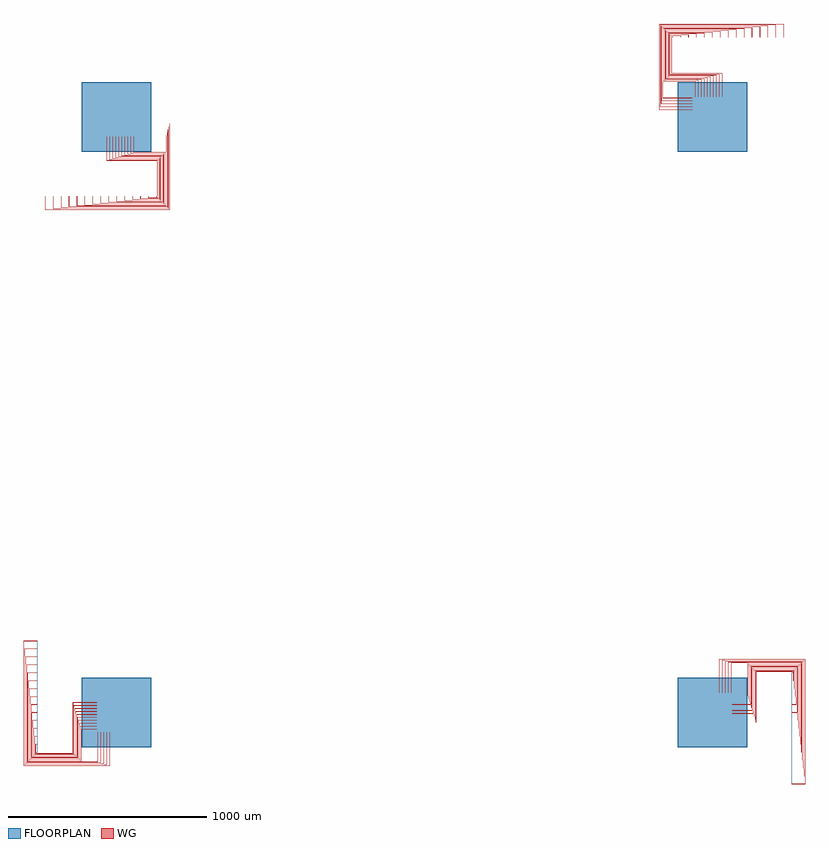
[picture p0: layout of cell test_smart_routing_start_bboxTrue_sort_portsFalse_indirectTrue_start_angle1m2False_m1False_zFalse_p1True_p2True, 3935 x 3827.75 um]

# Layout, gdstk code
import gdstk
lib = gdstk.Library(unit=1e-6, precision=1e-09)
def R(c, l, rs):  # rectangles x0, y0, x1, y1
    for r in rs: c.add(gdstk.rectangle(r[:2], r[2:], *l))
def P(c, l, *ps):  # polygons
    for p in ps: c.add(gdstk.Polygon(p, *l))
WG = (1, 0)
FLOORPLAN = (10, 0)

test_smart_routing_start = lib.new_cell('test_smart_routing_start_bboxTrue_sort_portsFalse_indirectTrue_start_angle1m2False_m1False_zFalse_p1True_p2True')
P(test_smart_routing_start, WG, [(3050.05,3100),(3050.05,3219.8),(2795.55,3219.8),(2795.55,3404.2),(2799.95,3404.2),(2799.95,3400),(2799.75,3400),(2799.75,3404),(2795.75,3404),(2795.75,3220),(3050.25,3220),(3050.25,3100)],
  [(3049.75,3100),(3049.75,3219.5),(2795.25,3219.5),(2795.25,3404.5),(2800.25,3404.5),(2800.25,3400),(2800.05,3400),(2800.05,3404.3),(2795.45,3404.3),(2795.45,3219.7),(3049.95,3219.7),(3049.95,3100)],
  [(3035.05,3100),(3035.05,3215.3),(2791.05,3215.3),(2791.05,3408.7),(2839.95,3408.7),(2839.95,3400),(2839.75,3400),(2839.75,3408.5),(2791.25,3408.5),(2791.25,3215.5),(3035.25,3215.5),(3035.25,3100)],
  [(3034.75,3100),(3034.75,3215),(2790.75,3215),(2790.75,3409),(2840.25,3409),(2840.25,3400),(2840.05,3400),(2840.05,3408.8),(2790.95,3408.8),(2790.95,3215.2),(3034.95,3215.2),(3034.95,3100)],
  [(3020.05,3100),(3020.05,3210.8),(2786.55,3210.8),(2786.55,3413.2),(2879.95,3413.2),(2879.95,3400),(2879.75,3400),(2879.75,3413),(2786.75,3413),(2786.75,3211),(3020.25,3211),(3020.25,3100)],
  [(3019.75,3100),(3019.75,3210.5),(2786.25,3210.5),(2786.25,3413.5),(2880.25,3413.5),(2880.25,3400),(2880.05,3400),(2880.05,3413.3),(2786.45,3413.3),(2786.45,3210.7),(3019.95,3210.7),(3019.95,3100)],
  [(3005.05,3100),(3005.05,3206.3),(2782.05,3206.3),(2782.05,3417.7),(2919.95,3417.7),(2919.95,3400),(2919.75,3400),(2919.75,3417.5),(2782.25,3417.5),(2782.25,3206.5),(3005.25,3206.5),(3005.25,3100)],
  [(3004.75,3100),(3004.75,3206),(2781.75,3206),(2781.75,3418),(2920.25,3418),(2920.25,3400),(2920.05,3400),(2920.05,3417.8),(2781.95,3417.8),(2781.95,3206.2),(3004.95,3206.2),(3004.95,3100)],
  [(2990.05,3100),(2990.05,3201.8),(2777.55,3201.8),(2777.55,3422.2),(2959.95,3422.2),(2959.95,3400),(2959.75,3400),(2959.75,3422),(2777.75,3422),(2777.75,3202),(2990.25,3202),(2990.25,3100)],
  [(2989.75,3100),(2989.75,3201.5),(2777.25,3201.5),(2777.25,3422.5),(2960.25,3422.5),(2960.25,3400),(2960.05,3400),(2960.05,3422.3),(2777.45,3422.3),(2777.45,3201.7),(2989.95,3201.7),(2989.95,3100)],
  [(2975.05,3100),(2975.05,3197.3),(2773.05,3197.3),(2773.05,3426.7),(2999.95,3426.7),(2999.95,3400),(2999.75,3400),(2999.75,3426.5),(2773.25,3426.5),(2773.25,3197.5),(2975.25,3197.5),(2975.25,3100)],
  [(2974.75,3100),(2974.75,3197),(2772.75,3197),(2772.75,3427),(3000.25,3427),(3000.25,3400),(3000.05,3400),(3000.05,3426.8),(2772.95,3426.8),(2772.95,3197.2),(2974.95,3197.2),(2974.95,3100)],
  [(2960.05,3100),(2960.05,3192.8),(2768.55,3192.8),(2768.55,3431.2),(3039.95,3431.2),(3039.95,3400),(3039.75,3400),(3039.75,3431),(2768.75,3431),(2768.75,3193),(2960.25,3193),(2960.25,3100)],
  [(2959.75,3100),(2959.75,3192.5),(2768.25,3192.5),(2768.25,3431.5),(3040.25,3431.5),(3040.25,3400),(3040.05,3400),(3040.05,3431.3),(2768.45,3431.3),(2768.45,3192.7),(2959.95,3192.7),(2959.95,3100)],
  [(2945.05,3100),(2945.05,3188.3),(2764.05,3188.3),(2764.05,3435.7),(3079.95,3435.7),(3079.95,3400),(3079.75,3400),(3079.75,3435.5),(2764.25,3435.5),(2764.25,3188.5),(2945.25,3188.5),(2945.25,3100)],
  [(2944.75,3100),(2944.75,3188),(2763.75,3188),(2763.75,3436),(3080.25,3436),(3080.25,3400),(3080.05,3400),(3080.05,3435.8),(2763.95,3435.8),(2763.95,3188.2),(2944.95,3188.2),(2944.95,3100)],
  [(2930.05,3100),(2930.05,3183.8),(2759.55,3183.8),(2759.55,3440.2),(3119.95,3440.2),(3119.95,3400),(3119.75,3400),(3119.75,3440),(2759.75,3440),(2759.75,3184),(2930.25,3184),(2930.25,3100)],
  [(2929.75,3100),(2929.75,3183.5),(2759.25,3183.5),(2759.25,3440.5),(3120.25,3440.5),(3120.25,3400),(3120.05,3400),(3120.05,3440.3),(2759.45,3440.3),(2759.45,3183.7),(2929.95,3183.7),(2929.95,3100)],
  [(2915.05,3100),(2915.05,3179.3),(2755.05,3179.3),(2755.05,3444.7),(3159.95,3444.7),(3159.95,3400),(3159.75,3400),(3159.75,3444.5),(2755.25,3444.5),(2755.25,3179.5),(2915.25,3179.5),(2915.25,3100)],
  [(2914.75,3100),(2914.75,3179),(2754.75,3179),(2754.75,3445),(3160.25,3445),(3160.25,3400),(3160.05,3400),(3160.05,3444.8),(2754.95,3444.8),(2754.95,3179.2),(2914.95,3179.2),(2914.95,3100)],
  [(2732.55,3035.05),(2732.55,3467.2),(3359.95,3467.2),(3359.95,3400),(3359.75,3400),(3359.75,3467),(2732.75,3467),(2732.75,3035.25),(2900,3035.25),(2900,3035.05)],
  [(2732.25,3034.75),(2732.25,3467.5),(3360.25,3467.5),(3360.25,3400),(3360.05,3400),(3360.05,3467.3),(2732.45,3467.3),(2732.45,3034.95),(2900,3034.95),(2900,3034.75)],
  [(2737.05,3050.05),(2737.05,3462.7),(3319.95,3462.7),(3319.95,3400),(3319.75,3400),(3319.75,3462.5),(2737.25,3462.5),(2737.25,3050.25),(2900,3050.25),(2900,3050.05)],
  [(2736.75,3049.75),(2736.75,3463),(3320.25,3463),(3320.25,3400),(3320.05,3400),(3320.05,3462.8),(2736.95,3462.8),(2736.95,3049.95),(2900,3049.95),(2900,3049.75)],
  [(2741.55,3065.05),(2741.55,3458.2),(3279.95,3458.2),(3279.95,3400),(3279.75,3400),(3279.75,3458),(2741.75,3458),(2741.75,3065.25),(2900,3065.25),(2900,3065.05)],
  [(2741.25,3064.75),(2741.25,3458.5),(3280.25,3458.5),(3280.25,3400),(3280.05,3400),(3280.05,3458.3),(2741.45,3458.3),(2741.45,3064.95),(2900,3064.95),(2900,3064.75)],
  [(2746.05,3080.05),(2746.05,3453.7),(3239.95,3453.7),(3239.95,3400),(3239.75,3400),(3239.75,3453.5),(2746.25,3453.5),(2746.25,3080.25),(2900,3080.25),(2900,3080.05)],
  [(2745.75,3079.75),(2745.75,3454),(3240.25,3454),(3240.25,3400),(3240.05,3400),(3240.05,3453.8),(2745.95,3453.8),(2745.95,3079.95),(2900,3079.95),(2900,3079.75)],
  [(2750.55,3095.05),(2750.55,3449.2),(3199.95,3449.2),(3199.95,3400),(3199.75,3400),(3199.75,3449),(2750.75,3449),(2750.75,3095.25),(2900,3095.25),(2900,3095.05)],
  [(2750.25,3094.75),(2750.25,3449.5),(3200.25,3449.5),(3200.25,3400),(3200.05,3400),(3200.05,3449.3),(2750.45,3449.3),(2750.45,3094.95),(2900,3094.95),(2900,3094.75)],
  [(200.05,2595.8),(200.05,2600),(200.25,2600),(200.25,2596),(204.25,2596),(204.25,2780),(-50.25,2780),(-50.25,2900),(-50.05,2900),(-50.05,2780.2),(204.45,2780.2),(204.45,2595.8)],
  [(199.75,2595.5),(199.75,2600),(199.95,2600),(199.95,2595.7),(204.55,2595.7),(204.55,2780.3),(-49.95,2780.3),(-49.95,2900),(-49.75,2900),(-49.75,2780.5),(204.75,2780.5),(204.75,2595.5)],
  [(160.05,2591.3),(160.05,2600),(160.25,2600),(160.25,2591.5),(208.75,2591.5),(208.75,2784.5),(-35.25,2784.5),(-35.25,2900),(-35.05,2900),(-35.05,2784.7),(208.95,2784.7),(208.95,2591.3)],
  [(159.75,2591),(159.75,2600),(159.95,2600),(159.95,2591.2),(209.05,2591.2),(209.05,2784.8),(-34.95,2784.8),(-34.95,2900),(-34.75,2900),(-34.75,2785),(209.25,2785),(209.25,2591)],
  [(120.05,2586.8),(120.05,2600),(120.25,2600),(120.25,2587),(213.25,2587),(213.25,2789),(-20.25,2789),(-20.25,2900),(-20.05,2900),(-20.05,2789.2),(213.45,2789.2),(213.45,2586.8)],
  [(119.75,2586.5),(119.75,2600),(119.95,2600),(119.95,2586.7),(213.55,2586.7),(213.55,2789.3),(-19.95,2789.3),(-19.95,2900),(-19.75,2900),(-19.75,2789.5),(213.75,2789.5),(213.75,2586.5)],
  [(80.05,2582.3),(80.05,2600),(80.25,2600),(80.25,2582.5),(217.75,2582.5),(217.75,2793.5),(-5.25,2793.5),(-5.25,2900),(-5.05,2900),(-5.05,2793.7),(217.95,2793.7),(217.95,2582.3)],
  [(79.75,2582),(79.75,2600),(79.95,2600),(79.95,2582.2),(218.05,2582.2),(218.05,2793.8),(-4.95,2793.8),(-4.95,2900),(-4.75,2900),(-4.75,2794),(218.25,2794),(218.25,2582)],
  [(40.05,2577.8),(40.05,2600),(40.25,2600),(40.25,2578),(222.25,2578),(222.25,2798),(9.75,2798),(9.75,2900),(9.95,2900),(9.95,2798.2),(222.45,2798.2),(222.45,2577.8)],
  [(39.75,2577.5),(39.75,2600),(39.95,2600),(39.95,2577.7),(222.55,2577.7),(222.55,2798.3),(10.05,2798.3),(10.05,2900),(10.25,2900),(10.25,2798.5),(222.75,2798.5),(222.75,2577.5)],
  [(0.05,2573.3),(0.05,2600),(0.25,2600),(0.25,2573.5),(226.75,2573.5),(226.75,2802.5),(24.75,2802.5),(24.75,2900),(24.95,2900),(24.95,2802.7),(226.95,2802.7),(226.95,2573.3)],
  [(-0.25,2573),(-0.25,2600),(-0.05,2600),(-0.05,2573.2),(227.05,2573.2),(227.05,2802.8),(25.05,2802.8),(25.05,2900),(25.25,2900),(25.25,2803),(227.25,2803),(227.25,2573)],
  [(-39.95,2568.8),(-39.95,2600),(-39.75,2600),(-39.75,2569),(231.25,2569),(231.25,2807),(39.75,2807),(39.75,2900),(39.95,2900),(39.95,2807.2),(231.45,2807.2),(231.45,2568.8)],
  [(-40.25,2568.5),(-40.25,2600),(-40.05,2600),(-40.05,2568.7),(231.55,2568.7),(231.55,2807.3),(40.05,2807.3),(40.05,2900),(40.25,2900),(40.25,2807.5),(231.75,2807.5),(231.75,2568.5)],
  [(-79.95,2564.3),(-79.95,2600),(-79.75,2600),(-79.75,2564.5),(235.75,2564.5),(235.75,2811.5),(54.75,2811.5),(54.75,2900),(54.95,2900),(54.95,2811.7),(235.95,2811.7),(235.95,2564.3)],
  [(-80.25,2564),(-80.25,2600),(-80.05,2600),(-80.05,2564.2),(236.05,2564.2),(236.05,2811.8),(55.05,2811.8),(55.05,2900),(55.25,2900),(55.25,2812),(236.25,2812),(236.25,2564)],
  [(-119.95,2559.8),(-119.95,2600),(-119.75,2600),(-119.75,2560),(240.25,2560),(240.25,2816),(69.75,2816),(69.75,2900),(69.95,2900),(69.95,2816.2),(240.45,2816.2),(240.45,2559.8)],
  [(-120.25,2559.5),(-120.25,2600),(-120.05,2600),(-120.05,2559.7),(240.55,2559.7),(240.55,2816.3),(70.05,2816.3),(70.05,2900),(70.25,2900),(70.25,2816.5),(240.75,2816.5),(240.75,2559.5)],
  [(-159.95,2555.3),(-159.95,2600),(-159.75,2600),(-159.75,2555.5),(244.75,2555.5),(244.75,2820.5),(84.75,2820.5),(84.75,2900),(84.95,2900),(84.95,2820.7),(244.95,2820.7),(244.95,2555.3)],
  [(-160.25,2555),(-160.25,2600),(-160.05,2600),(-160.05,2555.2),(245.05,2555.2),(245.05,2820.8),(85.05,2820.8),(85.05,2900),(85.25,2900),(85.25,2821),(245.25,2821),(245.25,2555)],
  [(-359.95,2532.8),(-359.95,2600),(-359.75,2600),(-359.75,2533),(267.25,2533),(267.25,2964.75),(100,2964.75),(100,2964.95),(267.45,2964.95),(267.45,2532.8)],
  [(-360.25,2532.5),(-360.25,2600),(-360.05,2600),(-360.05,2532.7),(267.55,2532.7),(267.55,2965.05),(100,2965.05),(100,2965.25),(267.75,2965.25),(267.75,2532.5)],
  [(-319.95,2537.3),(-319.95,2600),(-319.75,2600),(-319.75,2537.5),(262.75,2537.5),(262.75,2949.75),(100,2949.75),(100,2949.95),(262.95,2949.95),(262.95,2537.3)],
  [(-320.25,2537),(-320.25,2600),(-320.05,2600),(-320.05,2537.2),(263.05,2537.2),(263.05,2950.05),(100,2950.05),(100,2950.25),(263.25,2950.25),(263.25,2537)],
  [(-279.95,2541.8),(-279.95,2600),(-279.75,2600),(-279.75,2542),(258.25,2542),(258.25,2934.75),(100,2934.75),(100,2934.95),(258.45,2934.95),(258.45,2541.8)],
  [(-280.25,2541.5),(-280.25,2600),(-280.05,2600),(-280.05,2541.7),(258.55,2541.7),(258.55,2935.05),(100,2935.05),(100,2935.25),(258.75,2935.25),(258.75,2541.5)],
  [(-239.95,2546.3),(-239.95,2600),(-239.75,2600),(-239.75,2546.5),(253.75,2546.5),(253.75,2919.75),(100,2919.75),(100,2919.95),(253.95,2919.95),(253.95,2546.3)],
  [(-240.25,2546),(-240.25,2600),(-240.05,2600),(-240.05,2546.2),(254.05,2546.2),(254.05,2920.05),(100,2920.05),(100,2920.25),(254.25,2920.25),(254.25,2546)],
  [(-199.95,2550.8),(-199.95,2600),(-199.75,2600),(-199.75,2551),(249.25,2551),(249.25,2904.75),(100,2904.75),(100,2904.95),(249.45,2904.95),(249.45,2550.8)],
  [(-200.25,2550.5),(-200.25,2600),(-200.05,2600),(-200.05,2550.7),(249.55,2550.7),(249.55,2905.05),(100,2905.05),(100,2905.25),(249.75,2905.25),(249.75,2550.5)],
  [(-404.5,-204.75),(-404.5,-199.75),(-400,-199.75),(-400,-199.95),(-404.3,-199.95),(-404.3,-204.55),(-219.7,-204.55),(-219.7,49.95),(-100,49.95),(-100,49.75),(-219.5,49.75),(-219.5,-204.75)],
  [(-404.2,-204.45),(-404.2,-200.05),(-400,-200.05),(-400,-200.25),(-404,-200.25),(-404,-204.25),(-220,-204.25),(-220,50.25),(-100,50.25),(-100,50.05),(-219.8,50.05),(-219.8,-204.45)],
  [(-409,-209.25),(-409,-159.75),(-400,-159.75),(-400,-159.95),(-408.8,-159.95),(-408.8,-209.05),(-215.2,-209.05),(-215.2,34.95),(-100,34.95),(-100,34.75),(-215,34.75),(-215,-209.25)],
  [(-408.7,-208.95),(-408.7,-160.05),(-400,-160.05),(-400,-160.25),(-408.5,-160.25),(-408.5,-208.75),(-215.5,-208.75),(-215.5,35.25),(-100,35.25),(-100,35.05),(-215.3,35.05),(-215.3,-208.95)],
  [(-413.5,-213.75),(-413.5,-119.75),(-400,-119.75),(-400,-119.95),(-413.3,-119.95),(-413.3,-213.55),(-210.7,-213.55),(-210.7,19.95),(-100,19.95),(-100,19.75),(-210.5,19.75),(-210.5,-213.75)],
  [(-413.2,-213.45),(-413.2,-120.05),(-400,-120.05),(-400,-120.25),(-413,-120.25),(-413,-213.25),(-211,-213.25),(-211,20.25),(-100,20.25),(-100,20.05),(-210.8,20.05),(-210.8,-213.45)],
  [(-418,-218.25),(-418,-79.75),(-400,-79.75),(-400,-79.95),(-417.8,-79.95),(-417.8,-218.05),(-206.2,-218.05),(-206.2,4.95),(-100,4.95),(-100,4.75),(-206,4.75),(-206,-218.25)],
  [(-417.7,-217.95),(-417.7,-80.05),(-400,-80.05),(-400,-80.25),(-417.5,-80.25),(-417.5,-217.75),(-206.5,-217.75),(-206.5,5.25),(-100,5.25),(-100,5.05),(-206.3,5.05),(-206.3,-217.95)],
  [(-422.5,-222.75),(-422.5,-39.75),(-400,-39.75),(-400,-39.95),(-422.3,-39.95),(-422.3,-222.55),(-201.7,-222.55),(-201.7,-10.05),(-100,-10.05),(-100,-10.25),(-201.5,-10.25),(-201.5,-222.75)],
  [(-422.2,-222.45),(-422.2,-40.05),(-400,-40.05),(-400,-40.25),(-422,-40.25),(-422,-222.25),(-202,-222.25),(-202,-9.75),(-100,-9.75),(-100,-9.95),(-201.8,-9.95),(-201.8,-222.45)],
  [(-426.7,-226.95),(-426.7,-0.05),(-400,-0.05),(-400,-0.25),(-426.5,-0.25),(-426.5,-226.75),(-197.5,-226.75),(-197.5,-24.75),(-100,-24.75),(-100,-24.95),(-197.3,-24.95),(-197.3,-226.95)],
  [(-427,-227.25),(-427,0.25),(-400,0.25),(-400,0.05),(-426.8,0.05),(-426.8,-227.05),(-197.2,-227.05),(-197.2,-25.05),(-100,-25.05),(-100,-25.25),(-197,-25.25),(-197,-227.25)],
  [(-431.2,-231.45),(-431.2,39.95),(-400,39.95),(-400,39.75),(-431,39.75),(-431,-231.25),(-193,-231.25),(-193,-39.75),(-100,-39.75),(-100,-39.95),(-192.8,-39.95),(-192.8,-231.45)],
  [(-431.5,-231.75),(-431.5,40.25),(-400,40.25),(-400,40.05),(-431.3,40.05),(-431.3,-231.55),(-192.7,-231.55),(-192.7,-40.05),(-100,-40.05),(-100,-40.25),(-192.5,-40.25),(-192.5,-231.75)],
  [(-435.7,-235.95),(-435.7,79.95),(-400,79.95),(-400,79.75),(-435.5,79.75),(-435.5,-235.75),(-188.5,-235.75),(-188.5,-54.75),(-100,-54.75),(-100,-54.95),(-188.3,-54.95),(-188.3,-235.95)],
  [(-436,-236.25),(-436,80.25),(-400,80.25),(-400,80.05),(-435.8,80.05),(-435.8,-236.05),(-188.2,-236.05),(-188.2,-55.05),(-100,-55.05),(-100,-55.25),(-188,-55.25),(-188,-236.25)],
  [(-440.2,-240.45),(-440.2,119.95),(-400,119.95),(-400,119.75),(-440,119.75),(-440,-240.25),(-184,-240.25),(-184,-69.75),(-100,-69.75),(-100,-69.95),(-183.8,-69.95),(-183.8,-240.45)],
  [(-440.5,-240.75),(-440.5,120.25),(-400,120.25),(-400,120.05),(-440.3,120.05),(-440.3,-240.55),(-183.7,-240.55),(-183.7,-70.05),(-100,-70.05),(-100,-70.25),(-183.5,-70.25),(-183.5,-240.75)],
  [(-444.7,-244.95),(-444.7,159.95),(-400,159.95),(-400,159.75),(-444.5,159.75),(-444.5,-244.75),(-179.5,-244.75),(-179.5,-84.75),(-100,-84.75),(-100,-84.95),(-179.3,-84.95),(-179.3,-244.95)],
  [(-445,-245.25),(-445,160.25),(-400,160.25),(-400,160.05),(-444.8,160.05),(-444.8,-245.05),(-179.2,-245.05),(-179.2,-85.05),(-100,-85.05),(-100,-85.25),(-179,-85.25),(-179,-245.25)],
  [(-467.2,-267.45),(-467.2,359.95),(-400,359.95),(-400,359.75),(-467,359.75),(-467,-267.25),(-35.25,-267.25),(-35.25,-100),(-35.05,-100),(-35.05,-267.45)],
  [(-467.5,-267.75),(-467.5,360.25),(-400,360.25),(-400,360.05),(-467.3,360.05),(-467.3,-267.55),(-34.95,-267.55),(-34.95,-100),(-34.75,-100),(-34.75,-267.75)],
  [(-462.7,-262.95),(-462.7,319.95),(-400,319.95),(-400,319.75),(-462.5,319.75),(-462.5,-262.75),(-50.25,-262.75),(-50.25,-100),(-50.05,-100),(-50.05,-262.95)],
  [(-463,-263.25),(-463,320.25),(-400,320.25),(-400,320.05),(-462.8,320.05),(-462.8,-263.05),(-49.95,-263.05),(-49.95,-100),(-49.75,-100),(-49.75,-263.25)],
  [(-458.2,-258.45),(-458.2,279.95),(-400,279.95),(-400,279.75),(-458,279.75),(-458,-258.25),(-65.25,-258.25),(-65.25,-100),(-65.05,-100),(-65.05,-258.45)],
  [(-458.5,-258.75),(-458.5,280.25),(-400,280.25),(-400,280.05),(-458.3,280.05),(-458.3,-258.55),(-64.95,-258.55),(-64.95,-100),(-64.75,-100),(-64.75,-258.75)],
  [(-453.7,-253.95),(-453.7,239.95),(-400,239.95),(-400,239.75),(-453.5,239.75),(-453.5,-253.75),(-80.25,-253.75),(-80.25,-100),(-80.05,-100),(-80.05,-253.95)],
  [(-454,-254.25),(-454,240.25),(-400,240.25),(-400,240.05),(-453.8,240.05),(-453.8,-254.05),(-79.95,-254.05),(-79.95,-100),(-79.75,-100),(-79.75,-254.25)],
  [(-449.2,-249.45),(-449.2,199.95),(-400,199.95),(-400,199.75),(-449,199.75),(-449,-249.25),(-95.25,-249.25),(-95.25,-100),(-95.05,-100),(-95.05,-249.45)],
  [(-449.5,-249.75),(-449.5,200.25),(-400,200.25),(-400,200.05),(-449.3,200.05),(-449.3,-249.55),(-94.95,-249.55),(-94.95,-100),(-94.75,-100),(-94.75,-249.75)],
  [(3100,-50.25),(3100,-50.05),(3219.8,-50.05),(3219.8,204.45),(3404.2,204.45),(3404.2,200.05),(3400,200.05),(3400,200.25),(3404,200.25),(3404,204.25),(3220,204.25),(3220,-50.25)],
  [(3100,-49.95),(3100,-49.75),(3219.5,-49.75),(3219.5,204.75),(3404.5,204.75),(3404.5,199.75),(3400,199.75),(3400,199.95),(3404.3,199.95),(3404.3,204.55),(3219.7,204.55),(3219.7,-49.95)],
  [(3100,-35.25),(3100,-35.05),(3215.3,-35.05),(3215.3,208.95),(3408.7,208.95),(3408.7,160.05),(3400,160.05),(3400,160.25),(3408.5,160.25),(3408.5,208.75),(3215.5,208.75),(3215.5,-35.25)],
  [(3100,-34.95),(3100,-34.75),(3215,-34.75),(3215,209.25),(3409,209.25),(3409,159.75),(3400,159.75),(3400,159.95),(3408.8,159.95),(3408.8,209.05),(3215.2,209.05),(3215.2,-34.95)],
  [(3100,-20.25),(3100,-20.05),(3210.8,-20.05),(3210.8,213.45),(3413.2,213.45),(3413.2,120.05),(3400,120.05),(3400,120.25),(3413,120.25),(3413,213.25),(3211,213.25),(3211,-20.25)],
  [(3100,-19.95),(3100,-19.75),(3210.5,-19.75),(3210.5,213.75),(3413.5,213.75),(3413.5,119.75),(3400,119.75),(3400,119.95),(3413.3,119.95),(3413.3,213.55),(3210.7,213.55),(3210.7,-19.95)],
  [(3100,-5.25),(3100,-5.05),(3206.3,-5.05),(3206.3,217.95),(3417.7,217.95),(3417.7,80.05),(3400,80.05),(3400,80.25),(3417.5,80.25),(3417.5,217.75),(3206.5,217.75),(3206.5,-5.25)],
  [(3100,-4.95),(3100,-4.75),(3206,-4.75),(3206,218.25),(3418,218.25),(3418,79.75),(3400,79.75),(3400,79.95),(3417.8,79.95),(3417.8,218.05),(3206.2,218.05),(3206.2,-4.95)],
  [(3100,9.75),(3100,9.95),(3201.8,9.95),(3201.8,222.45),(3422.2,222.45),(3422.2,40.05),(3400,40.05),(3400,40.25),(3422,40.25),(3422,222.25),(3202,222.25),(3202,9.75)],
  [(3100,10.05),(3100,10.25),(3201.5,10.25),(3201.5,222.75),(3422.5,222.75),(3422.5,39.75),(3400,39.75),(3400,39.95),(3422.3,39.95),(3422.3,222.55),(3201.7,222.55),(3201.7,10.05)],
  [(3400,0.05),(3400,0.25),(3426.5,0.25),(3426.5,226.75),(3197.5,226.75),(3197.5,24.75),(3100,24.75),(3100,24.95),(3197.3,24.95),(3197.3,226.95),(3426.7,226.95),(3426.7,0.05)],
  [(3400,-0.25),(3400,-0.05),(3426.8,-0.05),(3426.8,227.05),(3197.2,227.05),(3197.2,25.05),(3100,25.05),(3100,25.25),(3197,25.25),(3197,227.25),(3427,227.25),(3427,-0.25)],
  [(3400,-39.95),(3400,-39.75),(3431,-39.75),(3431,231.25),(3193,231.25),(3193,39.75),(3100,39.75),(3100,39.95),(3192.8,39.95),(3192.8,231.45),(3431.2,231.45),(3431.2,-39.95)],
  [(3400,-40.25),(3400,-40.05),(3431.3,-40.05),(3431.3,231.55),(3192.7,231.55),(3192.7,40.05),(3100,40.05),(3100,40.25),(3192.5,40.25),(3192.5,231.75),(3431.5,231.75),(3431.5,-40.25)],
  [(3400,-79.95),(3400,-79.75),(3435.5,-79.75),(3435.5,235.75),(3188.5,235.75),(3188.5,54.75),(3100,54.75),(3100,54.95),(3188.3,54.95),(3188.3,235.95),(3435.7,235.95),(3435.7,-79.95)],
  [(3400,-80.25),(3400,-80.05),(3435.8,-80.05),(3435.8,236.05),(3188.2,236.05),(3188.2,55.05),(3100,55.05),(3100,55.25),(3188,55.25),(3188,236.25),(3436,236.25),(3436,-80.25)],
  [(3400,-119.95),(3400,-119.75),(3440,-119.75),(3440,240.25),(3184,240.25),(3184,69.75),(3100,69.75),(3100,69.95),(3183.8,69.95),(3183.8,240.45),(3440.2,240.45),(3440.2,-119.95)],
  [(3400,-120.25),(3400,-120.05),(3440.3,-120.05),(3440.3,240.55),(3183.7,240.55),(3183.7,70.05),(3100,70.05),(3100,70.25),(3183.5,70.25),(3183.5,240.75),(3440.5,240.75),(3440.5,-120.25)],
  [(3400,-159.95),(3400,-159.75),(3444.5,-159.75),(3444.5,244.75),(3179.5,244.75),(3179.5,84.75),(3100,84.75),(3100,84.95),(3179.3,84.95),(3179.3,244.95),(3444.7,244.95),(3444.7,-159.95)],
  [(3400,-160.25),(3400,-160.05),(3444.8,-160.05),(3444.8,245.05),(3179.2,245.05),(3179.2,85.05),(3100,85.05),(3100,85.25),(3179,85.25),(3179,245.25),(3445,245.25),(3445,-160.25)],
  [(3400,-359.95),(3400,-359.75),(3467,-359.75),(3467,267.25),(3035.25,267.25),(3035.25,100),(3035.05,100),(3035.05,267.45),(3467.2,267.45),(3467.2,-359.95)],
  [(3400,-360.25),(3400,-360.05),(3467.3,-360.05),(3467.3,267.55),(3034.95,267.55),(3034.95,100),(3034.75,100),(3034.75,267.75),(3467.5,267.75),(3467.5,-360.25)],
  [(3400,-319.95),(3400,-319.75),(3462.5,-319.75),(3462.5,262.75),(3050.25,262.75),(3050.25,100),(3050.05,100),(3050.05,262.95),(3462.7,262.95),(3462.7,-319.95)],
  [(3400,-320.25),(3400,-320.05),(3462.8,-320.05),(3462.8,263.05),(3049.95,263.05),(3049.95,100),(3049.75,100),(3049.75,263.25),(3463,263.25),(3463,-320.25)],
  [(3400,-279.95),(3400,-279.75),(3458,-279.75),(3458,258.25),(3065.25,258.25),(3065.25,100),(3065.05,100),(3065.05,258.45),(3458.2,258.45),(3458.2,-279.95)],
  [(3400,-280.25),(3400,-280.05),(3458.3,-280.05),(3458.3,258.55),(3064.95,258.55),(3064.95,100),(3064.75,100),(3064.75,258.75),(3458.5,258.75),(3458.5,-280.25)],
  [(3400,-239.95),(3400,-239.75),(3453.5,-239.75),(3453.5,253.75),(3080.25,253.75),(3080.25,100),(3080.05,100),(3080.05,253.95),(3453.7,253.95),(3453.7,-239.95)],
  [(3400,-240.25),(3400,-240.05),(3453.8,-240.05),(3453.8,254.05),(3079.95,254.05),(3079.95,100),(3079.75,100),(3079.75,254.25),(3454,254.25),(3454,-240.25)],
  [(3400,-199.95),(3400,-199.75),(3449,-199.75),(3449,249.25),(3095.25,249.25),(3095.25,100),(3095.05,100),(3095.05,249.45),(3449.2,249.45),(3449.2,-199.95)],
  [(3400,-200.25),(3400,-200.05),(3449.3,-200.05),(3449.3,249.55),(3094.95,249.55),(3094.95,100),(3094.75,100),(3094.75,249.75),(3449.5,249.75),(3449.5,-200.25)])
R(test_smart_routing_start, FLOORPLAN, [(-175,-175,175,175), (2825,-175,3175,175), (-175,2825,175,3175), (2825,2825,3175,3175)])
P(test_smart_routing_start, FLOORPLAN, [(-400,-200),(-400,360),(-400,360),(-400,-200)],
  [(-360,2600),(-360,2600),(200,2600),(200,2600)],
  [(3400,-360),(3400,200),(3400,200),(3400,-360)],
  [(2800,3400),(2800,3400),(3360,3400),(3360,3400)])

lib.write_gds('test_smart_routing_start_bboxTrue_sort_portsFalse_indirectTrue_start_angle1m2False_m1False_zFalse_p1True_p2True.gds')
